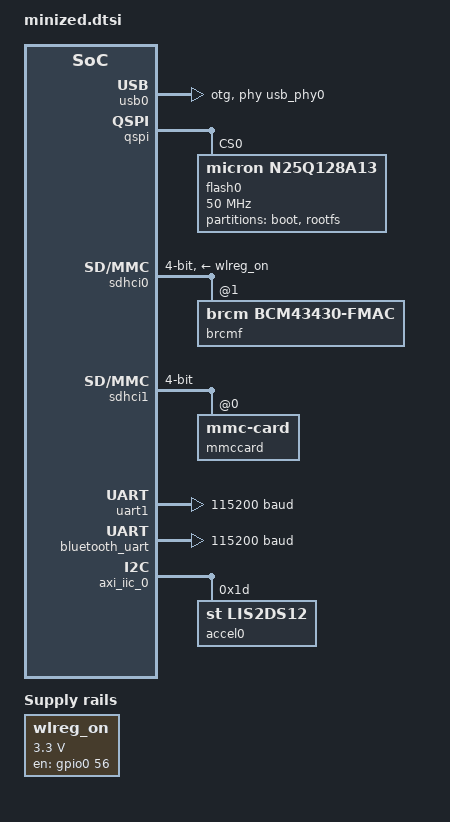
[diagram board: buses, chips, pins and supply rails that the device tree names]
/* Adapted from the meta-avnet github repository */
/ {
	/* WiFi Module: WL_REG_ON GPIO Control */	
	wlreg_on: wlreg-on {
		compatible = "regulator-fixed";
		regulator-name = "wlreg_on";
		enable-active-high;
		gpio = <&gpio0 56 0>;
		regulator-min-microvolt = <3300000>;
		regulator-max-microvolt = <3300000>;
		startup-delay-us = <100>;	
	};

	usb_phy0: usb_phy@0 {
		compatible = "ulpi-phy";
		#phy-cells = <0>;
		reg = <0xe0002000 0x1000>;
		view-port = <0x0170>;
		drv-vbus;
	};
};

&usb0 {
	dr_mode = "otg";
	usb-phy = <&usb_phy0>;
} ;

/* QSPI configuration */
&qspi {
	#address-cells = <1>;
	#size-cells = <0>;
	flash0: flash@0 {
		compatible = "micron,n25q128a13";
		reg = <0x0>;
		spi-max-frequency = <50000000>;
		#address-cells = <1>;
		#size-cells = <1>;
		partition@0 {
			label = "boot";
			reg = <0x0 0x4a0000>;
		};
		partition@1 {
			label = "rootfs";
			reg = <0x4a0000 0xb50000>;
		};
	};
};

/* SD Interface for Wi-Fi Module */
&sdhci0 {
	status = "okay"; 
	bus-width= <4>;
	xlnx,has-cd = <0x0>;
	xlnx,has-power = <0x0>;
	xlnx,has-wp = <0x0>;
	non-removeable;
	broken-cd;
	vmmc-supply = <&wlreg_on>;
	
	brcmf: brcmf@1 {
		status = "okay";
		reg = <1>; 
		compatible = "brcm,bcm43430-fmac";
	}; 
};

/* SD Interface for eMMC */
&sdhci1 {
	status = "okay"; 
	non-removeable;
	bus-width= <4>;
	xlnx,has-cd = <0x0>;
	xlnx,has-power = <0x0>;
	xlnx,has-wp = <0x0>;

	mmccard: mmccard@0 {
		reg = <0>;
		compatible = "mmc-card";
		broken-hpi;
	};
};

/* Console UART.  UART1 is tied to the USB serial port on the Zedboard */
&uart1 {
   	status = "okay";
	current-speed = <115200>;
	port-number = <0>;
};

/* Bluetooth UART.  Goes through EMIO to the 1DX */
&bluetooth_uart {
   	status = "okay";
	current-speed = <115200>;
	port-number = <2>;
};

/* AXI IIC.  Interfaces with the ST LIS2DS12 accelerometer */
&axi_iic_0 {
	status = "okay";

	/* MiniZed doesn't support interrupts from the accelerometer */
	accel0: lis2ds12@1d {
		compatible = "st,lis2ds12";
		reg = <0x1d>;
	};
};

&amba {
	/delete-node/ ptm@f889d000 ;

	funnel@f8804000 {
		in-ports {
			/delete-node/ port@1 ;
		};
	};
};
